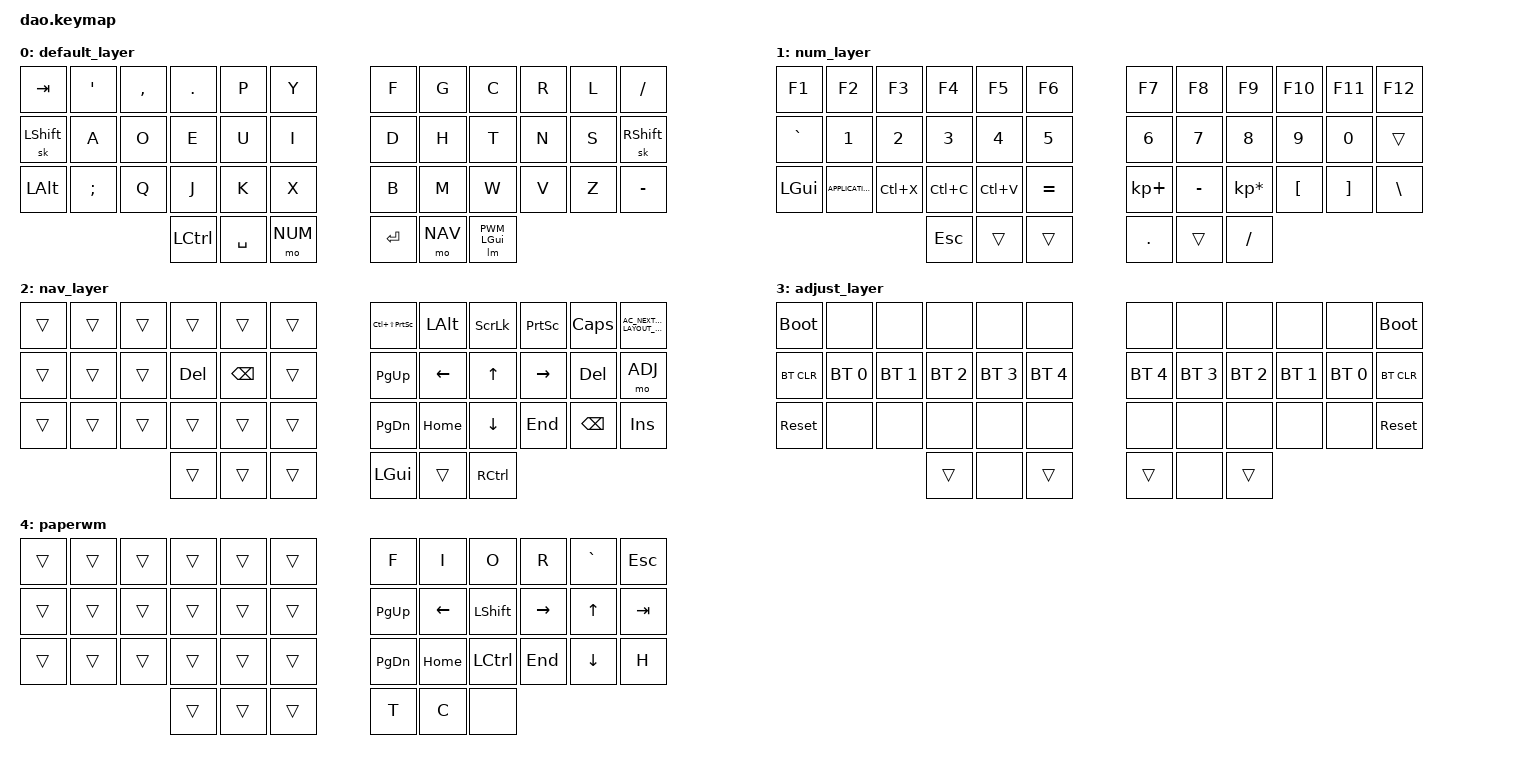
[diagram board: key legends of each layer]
/*
 * Copyright (c) 2021 Rafael Yumagulov
 *
 * SPDX-License-Identifier: MIT
 */

#include <behaviors.dtsi>
#include <dt-bindings/zmk/bt.h>
#include <dt-bindings/zmk/keys.h>

#define DEF 0
#define NUM 1
#define NAV 2
#define ADJ 3
#define PWM 4

&lt { quick_tap_ms = <200>; };

&mt { quick_tap_ms = <200>; };

/ {
    chosen {
        zmk,matrix_transform = &default_transform;

        // zmk,matrix_transform = &extra_keys_transform;
    };
};

/ {
    macros {
        lm: layer_mod {
            compatible = "zmk,behavior-macro-two-param";
            wait-ms = <0>;
            tap-ms = <0>;
            #binding-cells = <2>;
            bindings
                = <&macro_param_1to1>
                , <&macro_press &mo MACRO_PLACEHOLDER>
                , <&macro_param_2to1>
                , <&macro_press &kp MACRO_PLACEHOLDER>
                , <&macro_pause_for_release>
                , <&macro_param_2to1>
                , <&macro_release &kp MACRO_PLACEHOLDER>
                , <&macro_param_1to1>
                , <&macro_release &mo MACRO_PLACEHOLDER>
                ;
        };
    };

    combos {
        compatible = "zmk,combos";

        combo_ctl_spc_is_super {
            bindings = <&kp LGUI>;
            key-positions = <36 37>;
        };

        combo_spc_l1_is_alt {
            bindings = <&kp LEFT_ALT>;
            key-positions = <37 38>;
        };

        combo_oe_is_alt_tab {
            bindings = <&kp LA(TAB)>;
            key-positions = <15 14>;
        };

        /* Previous combo of 2 thumb keys to "layer + super"
         *  combo_m1_m2_is_super {
         *    bindings = <&lm PWM LGUI>;
         *    key-positions = <39 40>;
         * }; 
         */

        combo_thumb1_thumb2_is_m1 {
            bindings = <&mo 1>;
            key-positions = <39 40>;
        };
    };

    keymap {
        compatible = "zmk,keymap";

        default_layer {
            bindings = <
  &kp TAB     &kp SINGLE_QUOTE  &kp COMMA  &kp PERIOD  &kp P      &kp Y      &kp F         &kp G    &kp C    &kp R  &kp L  &kp FSLH
  &sk LSHIFT  &kp A             &kp O      &kp E       &kp U      &kp I      &kp D         &kp H    &kp T    &kp N  &kp S  &sk RSHIFT
  &kp LALT    &kp SEMICOLON     &kp Q      &kp J       &kp K      &kp X      &kp B         &kp M    &kp W    &kp V  &kp Z  &kp MINUS
                                           &kp LCTRL   &kp SPACE  &mo NUM    &kp RET       &mo NAV  &lm PWM LGUI
            >;
        };

        num_layer {
            bindings = <
  &kp F1     &kp F2  &kp F3     &kp F4     &kp F5     &kp F6     &kp F7       &kp F8       &kp F9     &kp F10          &kp F11   &kp F12
  &kp GRAVE  &kp N1  &kp N2     &kp N3     &kp N4     &kp N5     &kp N6       &kp N7       &kp N8     &kp N9           &kp N0    &trans
  &kp LGUI   &kp K_APPLICATION  &kp LC(X)  &kp LC(C)  &kp LC(V)  &kp EQUAL    &kp KP_PLUS  &kp MINUS  &kp KP_ASTERISK  &kp LBKT  &kp RBKT  &kp BSLH
                                           &kp ESC    &trans     &trans       &kp PERIOD   &trans     &kp FSLH
            >;
        };

        nav_layer {
            bindings = <
  &trans  &trans  &trans  &trans   &trans    &trans    &kp LC(LS(PRINTSCREEN))  &kp LALT   &kp SLCK   &kp PSCRN  &kp CLCK  &kp C_AC_NEXT_KEYBOARD_LAYOUT_SELECT
  &trans  &trans  &trans  &kp DEL  &kp BSPC  &trans    &kp PG_UP                &kp LEFT   &kp UP     &kp RIGHT  &kp DEL   &mo ADJ
  &trans  &trans  &trans  &trans   &trans    &trans    &kp PG_DN                &kp HOME   &kp DOWN   &kp END    &kp BSPC  &kp INS
                          &trans   &trans    &trans    &kp LGUI                 &trans     &kp RCTRL
            >;
        };

        adjust_layer {
            bindings = <
  &bootloader  &none         &none         &none         &none         &none           &none         &none         &none         &none         &none         &bootloader
  &bt BT_CLR   &bt BT_SEL 0  &bt BT_SEL 1  &bt BT_SEL 2  &bt BT_SEL 3  &bt BT_SEL 4    &bt BT_SEL 4  &bt BT_SEL 3  &bt BT_SEL 2  &bt BT_SEL 1  &bt BT_SEL 0  &bt BT_CLR
  &sys_reset   &none         &none         &none         &none         &none           &none         &none         &none         &none         &none         &sys_reset
                                           &trans        &none         &trans          &trans        &none         &trans
            >;
        };

        paperwm {
            bindings = <
  &trans  &trans  &trans  &trans  &trans  &trans    &kp F      &kp I     &kp O      &kp R      &kp GRAVE  &kp ESC
  &trans  &trans  &trans  &trans  &trans  &trans    &kp PG_UP  &kp LEFT  &kp LSHFT  &kp RIGHT  &kp UP     &kp TAB
  &trans  &trans  &trans  &trans  &trans  &trans    &kp PG_DN  &kp HOME  &kp LCTRL  &kp END    &kp DOWN   &kp H
                                  &trans  &trans    &trans     &kp T     &kp C      &none
            >;
        };
    };
};
